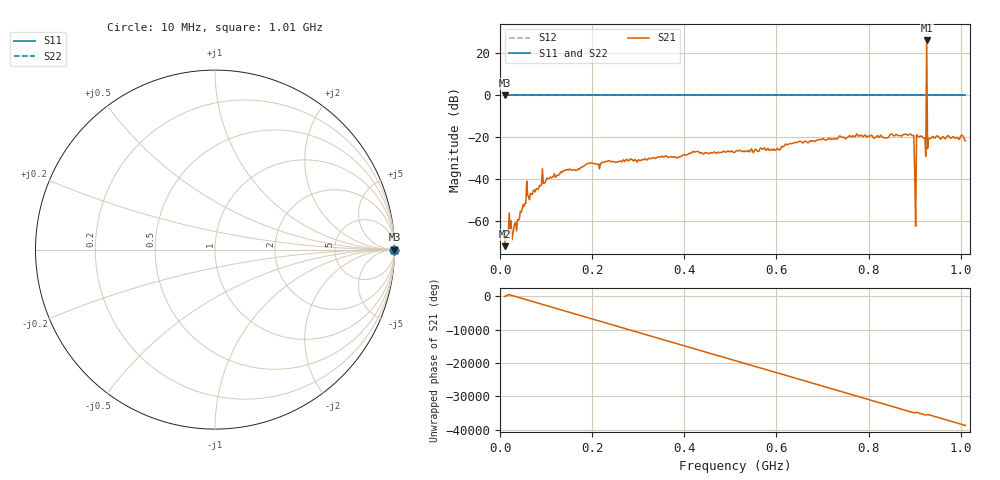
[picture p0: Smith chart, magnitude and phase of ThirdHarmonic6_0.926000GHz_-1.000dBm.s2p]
! 8/16/2025 6:13:21 AM
! C:\ANRITSUVNA\TEMP\TEMP.S2P
! CHANNEL.1
! TR.MEASUREMENT
! RAW.DATA
! RF.CORRECTION.OFF
! AVERAGING.OFF
! IF.BANDWIDTH: 5KHZ
! SWEEPTYPE:  FREQ.SWEEP(Linear)
! Reference Plane Port Info
! PORT:  PORT1  PORT2
! DISTANCE:  0  m  0  m
! TIME:  0  s  0  s
! PHASE.OFFSET:  0  deg.  0  deg.
! LOSS:  0  dB  0  dB
! REF.LOSS:  0  dB  0  dB
! REF.FREQ:  0  Hz  0  Hz
! Power Info
! POWER:  -20  dBm  -20  dBm
! EFF.POWER:  -20  dBm  -20  dBm
! SOURCE.ATTEN:  0  dB  0  dB
! TEST.ATTEN:  0  dB  0  dB
# GHZ S RI R 50.0
! FREQ.GHZ  S11RE  S11IM  S21RE  S21IM  S12RE  S12IM  S22RE  S22IM
!; PortSelection: Port_12
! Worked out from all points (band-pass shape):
!   501 points, 10 MHz to 1.01 GHz, reference 50 ohm
!   highest |S21| = 26.21 dB at 926 MHz (marker M1); lowest = -72.1 dB at 10 MHz (marker M2)
!   |S21| within 3 dB of the highest: 925.8916 MHz to 926.1161 MHz (224.5 kHz wide, 0.0242 % of centre)
!   lowest |S11| = 0.0 dB at 10 MHz (marker M3)
!   |S11| at or under -10 dB: nowhere
!   |S22| runs from 0.0 to 0.0 dB; largest |S21 - S12| = 20
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0.01  1 0  0.000115 -0.00022  1 0  1 0
0.016  1 0  -6.76e-05 -0.000572  1 0  1 0
0.026  1 0  -0.00028 -0.000209  1 0  1 0
0.038  1 0  -0.000341 0.00101  1 0  1 0
0.062  1 0  -0.00325 -0.00187  1 0  1 0
0.096  1 0  -0.00042 -0.00787  1 0  1 0
0.178  1 0  -0.019 -0.00357  1 0  1 0
0.344  1 0  0.0314 -0.011  1 0  1 0
0.51  1 0  -0.0372 0.0234  1 0  1 0
0.678  1 0  -0.051 -0.0635  1 0  1 0
0.844  1 0  0.1022 0.0143  1 0  1 0
0.894  1 0  -0.074 0.0795  1 0  1 0
0.898  1 0  0.0983 -0.0472  1 0  1 0
0.904  1 0  0.00121 0.114  1 0  1 0
0.906  1 0  0.109 0.00809  1 0  1 0
0.908  1 0  0.0254 -0.0987  1 0  1 0
0.92  1 0  -0.0921 0.0285  1 0  1 0
0.922  1 0  0.0142 0.0948  1 0  1 0
0.926  1 0  16.35 12.27  1 0  1 0
0.93  1 0  -0.0512 0.0778  1 0  1 0
0.932  1 0  0.0666 0.0643  1 0  1 0
1.01  1 0  -0.0511 0.0636  1 0  1 0
